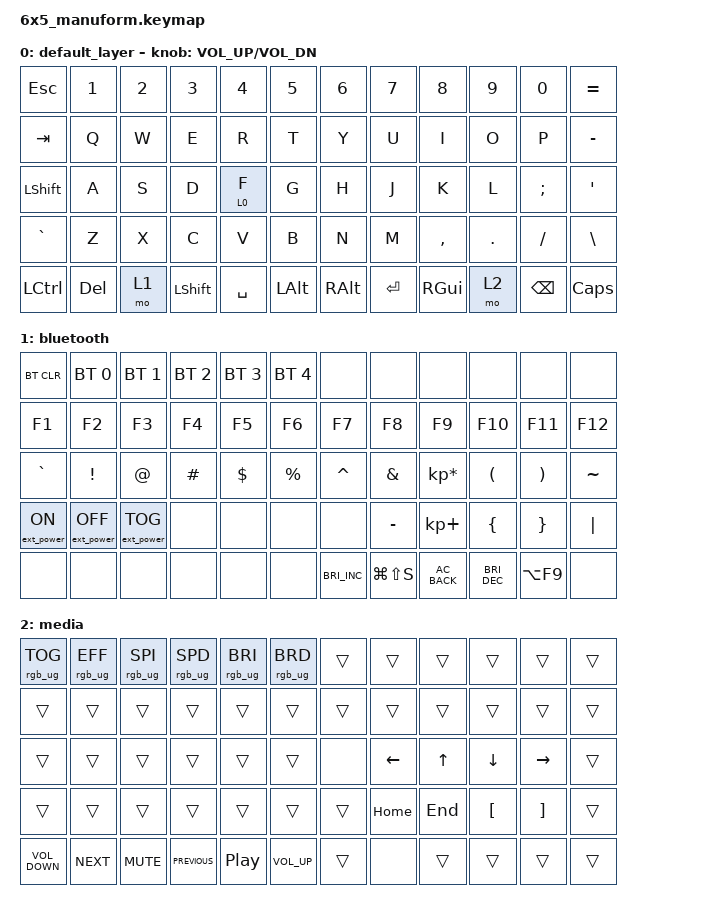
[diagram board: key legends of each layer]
/*
 * Copyright (c) 2020 The ZMK Contributors
 *
 * SPDX-License-Identifier: MIT
 */

#include <behaviors.dtsi>
#include <dt-bindings/zmk/bt.h>
#include <dt-bindings/zmk/ext_power.h>
#include <dt-bindings/zmk/keys.h>
#include <dt-bindings/zmk/rgb.h>

/ {
    keymap {
        compatible = "zmk,keymap";

        default_layer {
            // ------------------------------------------------------------------------------------------------------------
            // |  ESC   |  1  |  2  |  3   |  4   |  5   |                    |  6   |  7    |  8    |  9   |   0   |   `   |
            // |  TAB   |  Q  |  W  |  E   |  R   |  T   |                    |  Y   |  U    |  I    |  O   |   P   |   -   |
            // |  CTRL  |  A  |  S  |  D   |  F   |  G   |                    |  H   |  J    |  K    |  L   |   ;   |   '   |
            // | SHIFT  |  Z  |  X  |  C   |  V   |  B   |                    |  N   |  M    |  ,    |  .   |   /   | SHIFT |
            // |    2   |  2  | f   | 6    | 4    | 1    |                    | 2    | 1     | w     | s    | n     |  a    |

            bindings = <
&kp ESC         &kp N1      &kp N2  &kp N3          &kp N4     &kp N5    &kp N6         &kp N7     &kp N8         &kp N9   &kp N0         &kp EQUAL
&kp TAB         &kp Q       &kp W   &kp E           &kp R      &kp T     &kp Y          &kp U      &kp I          &kp O    &kp P          &kp MINUS
&kp LEFT_SHIFT  &kp A       &kp S   &kp D           &lt 0 F    &kp G     &kp H          &kp J      &kp K          &kp L    &kp SEMI       &kp SQT
&kp GRAVE       &kp Z       &kp X   &kp C           &kp V      &kp B     &kp N          &kp M      &kp COMMA      &kp DOT  &kp FSLH       &kp BSLH
&kp LCTRL       &kp DELETE  &mo 1   &kp LEFT_SHIFT  &kp SPACE  &kp LALT  &kp RIGHT_ALT  &kp ENTER  &kp RIGHT_GUI  &mo 2    &kp BACKSPACE  &kp CAPS
            >;

            sensor-bindings = <&inc_dec_kp C_VOL_UP C_VOL_DN>;
        };

        bluetooth {
            bindings = <
&bt BT_CLR        &bt BT_SEL 0       &bt BT_SEL 1       &bt BT_SEL 2  &bt BT_SEL 3  &bt BT_SEL 4  &none                 &none          &none            &none                 &none                  &none
&kp F1            &kp F2             &kp F3             &kp F4        &kp F5        &kp F6        &kp F7                &kp F8         &kp F9           &kp F10               &kp F11                &kp F12
&kp GRAVE         &kp EXCLAMATION    &kp AT_SIGN        &kp HASH      &kp DOLLAR    &kp PERCENT   &kp CARET             &kp AMPERSAND  &kp KP_MULTIPLY  &kp LEFT_PARENTHESIS  &kp RIGHT_PARENTHESIS  &kp TILDE
&ext_power EP_ON  &ext_power EP_OFF  &ext_power EP_TOG  &none         &none         &none         &none                 &kp MINUS      &kp KP_PLUS      &kp LEFT_BRACE        &kp RIGHT_BRACE        &kp PIPE
&none             &none              &none              &none         &none         &none         &kp C_BRIGHTNESS_INC  &kp LG(LS(S))  &kp C_AC_BACK    &kp C_BRIGHTNESS_DEC  &kp LA(F9)             &none
            >;
        };

        media {
            bindings = <
&rgb_ug RGB_TOG    &rgb_ug RGB_EFF  &rgb_ug RGB_SPI  &rgb_ug RGB_SPD  &rgb_ug RGB_BRI   &rgb_ug RGB_BRD  &trans  &trans          &trans        &trans            &trans             &trans
&trans             &trans           &trans           &trans           &trans            &trans           &trans  &trans          &trans        &trans            &trans             &trans
&trans             &trans           &trans           &trans           &trans            &trans           &none   &kp LEFT_ARROW  &kp UP_ARROW  &kp DOWN_ARROW    &kp RIGHT_ARROW    &trans
&trans             &trans           &trans           &trans           &trans            &trans           &trans  &kp HOME        &kp END       &kp LEFT_BRACKET  &kp RIGHT_BRACKET  &trans
&kp C_VOLUME_DOWN  &kp C_NEXT       &kp C_MUTE       &kp C_PREVIOUS   &kp C_PLAY_PAUSE  &kp C_VOLUME_UP  &trans  &none           &trans        &trans            &trans             &trans
            >;
        };
    };
};
